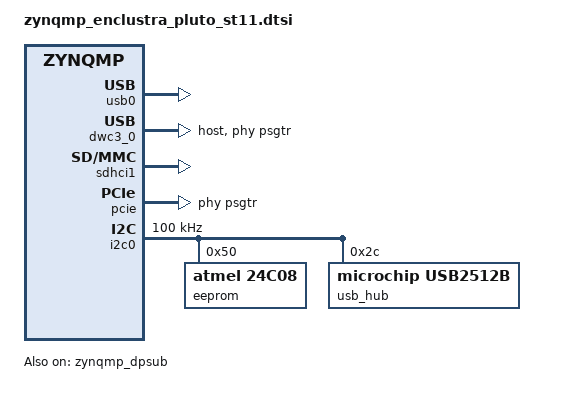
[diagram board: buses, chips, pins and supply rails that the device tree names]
#include <dt-bindings/phy/phy.h>

&usb0 {
	status = "okay";
};

&dwc3_0 {
	status = "okay";
	dr_mode = "host";
	snps,usb3_lpm_capable;
	phy-names = "usb3-phy";
	/* psgtr_phandle....lane number... controller_type...instance....refclk */
	phys = <&psgtr 1 PHY_TYPE_USB3 0 0>;
	maximum-speed = "super-speed";
};

&sdhci1 {
	status = "okay";
    // uncomment next line for SD 2.0 boot
    // no-1-8-v; 
	wp-inverted;
};

&zynqmp_dpdma {
	status = "okay";
};

&zynqmp_dpsub {
	status = "okay";
	phy-names = "dp-phy0", "dp-phy1";
	/* psgtr_phandle....lane number... controller_type...instance....refclk */
    phys = <&psgtr 3 PHY_TYPE_DP 0 1>, <&psgtr 2 PHY_TYPE_DP 1 1>;
    dma-names = "vid0", "vid1", "vid2", "gfx0";
	dmas = <&zynqmp_dpdma 0>, <&zynqmp_dpdma 1>, <&zynqmp_dpdma 2>, <&zynqmp_dpdma 3>;
};


&zynqmp_dp_snd_pcm0 {
    status = "disabled";
};

&zynqmp_dp_snd_pcm1 {
    status = "disabled";
};

&zynqmp_dp_snd_card0 {
    status = "disabled";
};

&zynqmp_dp_snd_codec0 {
    status = "disabled";
};

&pcie {
    status = "okay";
    xlnx,bar0-enable = <0x0>;
    xlnx,bar1-enable = <0x0>;
    xlnx,bar2-enable = <0x0>;
    xlnx,bar3-enable = <0x0>;
    xlnx,bar4-enable = <0x0>;
    xlnx,bar5-enable = <0x0>;
    xlnx,pcie-mode = "Root Port";
    xlnx,tz-nonsecure = <0x0>;
    phy-names = "pcie0-phy";
    /* psgtr_phandle....lane number... controller_type...instance....refclk */
    phys = <&psgtr 0 PHY_TYPE_PCIE 0 0>;
};

&i2c0 {
    status = "okay";
    clock-frequency = <100000>;
    eeprom@50 {
        compatible = "atmel,24c08";
        reg = <0x50>;
    };
    usb_hub@2C {
        compatible = "microchip,usb2512b";
        reg = <0x2C>;
    };
};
